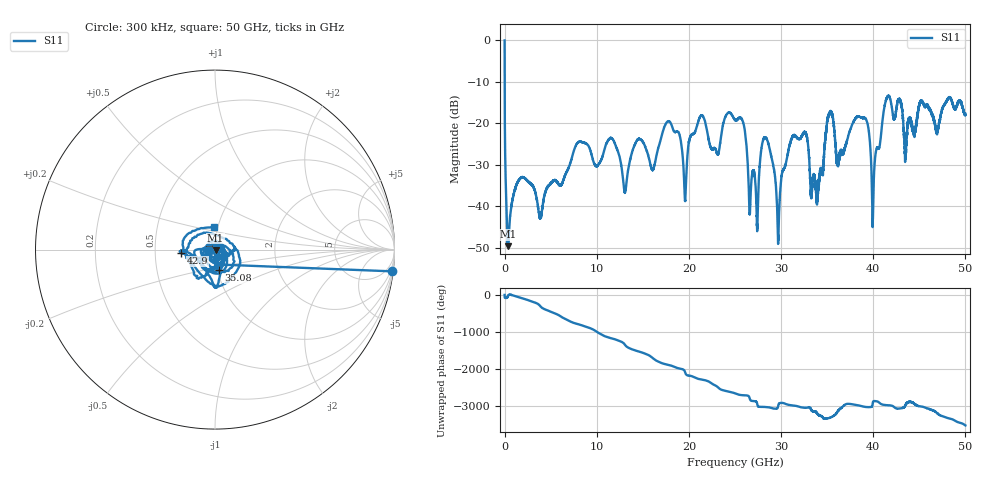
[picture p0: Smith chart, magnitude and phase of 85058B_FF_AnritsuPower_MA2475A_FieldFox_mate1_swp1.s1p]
!Created with skrf (http://scikit-rf.org).
# Hz S RI R 50.0
!freq ReS11 ImS11
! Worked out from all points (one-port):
!   10001 points, 300 kHz to 50 GHz, reference 50 ohm
!   lowest |S11| = -49.6 dB at 380.3 MHz (marker M1), VSWR 1.01, Z = 50.3 - j0.167 ohm
!   |S11| at or under -10 dB: 7.727 MHz to end of sweep
!   S11 on the Smith chart (normalised r, x): 300 kHz: 1, -16; 35.08 GHz: 1.02, -0.24; 42.9 GHz: 0.68, -0.03; 50 GHz: 0.97, +0.26
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300000  0.9859 -0.1211
3.802977e8  0.00287 -0.00166
1.755289e9  0.00225 -0.0219
3.860277e9  0.00421 0.00585
6.250262e9  -0.0072 0.0174
8.095251e9  0.00958 -0.059
1.250022e10  -0.0373 -0.00937
1.307522e10  -0.000189 0.0149
1.875019e10  -0.0784 -0.0152
1.958518e10  0.00337 0.0114
2.127017e10  -0.0522 -0.1109
2.305016e10  0.0261 0.0353
2.500015e10  -0.0699 -0.0846
2.735514e10  0.00755 -0.000609
2.846013e10  -0.0468 -0.0437
2.968512e10  -0.00131 -0.00394
3.125011e10  -0.00558 -0.0689
3.26501e10  -0.0693 -0.0295
3.39151e10  0.00665 0.00952
3.508009e10  0.0231 -0.1151
3.620008e10  -0.0251 0.0269
3.750008e10  0.0492 -0.0671
3.922506e10  -0.08 -0.0774
3.999506e10  0.0111 0.00138
4.141005e10  0.0149 -0.1927
4.290004e10  -0.1881 -0.0186
4.375004e10  0.1035 -0.0184
5e10  0.00211 0.1301
